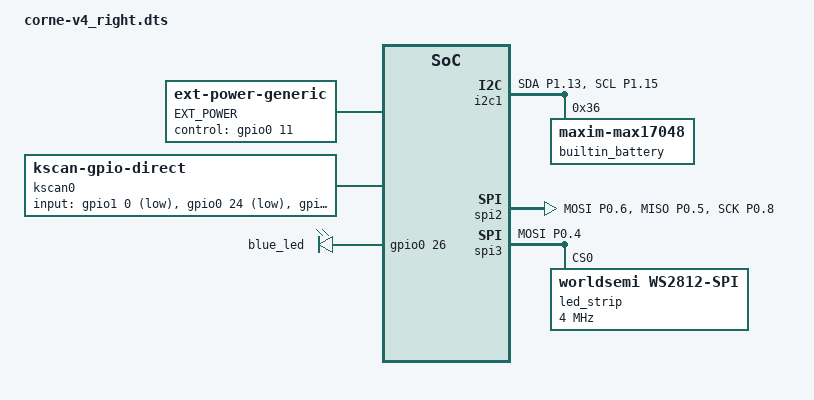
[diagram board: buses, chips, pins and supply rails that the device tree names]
#include "corne-v4.dtsi"
#include <dt-bindings/led/led.h>

/ {
	EXT_POWER {
		compatible = "zmk,ext-power-generic";
		control-gpios = <&gpio0 11 GPIO_ACTIVE_HIGH>;
		init-delay-ms = <50>;
	};
};

&pinctrl {
    i2c1_default: i2c1_default {
        group1 {
            psels = <NRF_PSEL(TWIM_SDA, 1, 13)>,
                <NRF_PSEL(TWIM_SCL, 1, 15)>;
						bias-pull-up;
        };
    };

    i2c1_sleep: i2c1_sleep {
        group1 {
            psels = <NRF_PSEL(TWIM_SDA, 1, 13)>,
                <NRF_PSEL(TWIM_SCL, 1, 15)>;
            low-power-enable;
						bias-pull-up;
        };
    };
		spi2_default: spi2_default {
				group1 {
						psels = <NRF_PSEL(SPIM_MOSI, 0, 6)>,
								<NRF_PSEL(SPIM_MISO, 0, 5)>,
								<NRF_PSEL(SPIM_SCK, 0, 8)>;
				};
		};

		spi2_sleep: spi2_sleep {
				group1 {
						psels = <NRF_PSEL(SPIM_MOSI, 0, 6)>,
								<NRF_PSEL(SPIM_MISO, 0, 5)>,
								<NRF_PSEL(SPIM_SCK, 0, 8)>;
						low-power-enable;
				};
		};

    spi3_default: spi3_default {
				group1 {
						psels = <NRF_PSEL(SPIM_MOSI, 0, 4)>;
				};
		};
	
    spi3_sleep: spi3_sleep {
				group1 {
						psels = <NRF_PSEL(SPIM_MOSI, 0, 4)>;
						low-power-enable;
				};
		};
};

// fuel gauge
&i2c1 {
	compatible = "nordic,nrf-twi";
	pinctrl-0 = <&i2c1_default>;
	pinctrl-1 = <&i2c1_sleep>;
	pinctrl-names = "default", "sleep"; 
	

	builtin_battery: max17048@36 {
		compatible = "zmk,maxim-max17048";
		status = "okay";
		reg = <0x36>;
	};

	status = "okay";
};

lpm_view_spi: &spi2 {
  compatible = "nordic,nrf-spim";
  status = "okay";

  pinctrl-0 = <&spi2_default>;
  pinctrl-1 = <&spi2_sleep>;
  pinctrl-names = "default", "sleep";

	cs-gpios = <&gpio1 9 (GPIO_ACTIVE_HIGH | GPIO_PULL_DOWN)>;
	status = "okay";
};

nice_view_spi: &spi2 {
  compatible = "nordic,nrf-spim";
  status = "okay";

  pinctrl-0 = <&spi2_default>;
  pinctrl-1 = <&spi2_sleep>;
  pinctrl-names = "default", "sleep";

	cs-gpios = <&gpio1 9 (GPIO_ACTIVE_HIGH | GPIO_PULL_DOWN)>;
	status = "okay";
};
// led
&spi3 {
	status = "okay";
	compatible = "nordic,nrf-spim";
	pinctrl-0 = <&spi3_default>;
	pinctrl-1 = <&spi3_sleep>;
	pinctrl-names = "default", "sleep";

	led_strip: ws2812@0 {
				compatible ="worldsemi,ws2812-spi";
        /* SPI */
        reg = <0>; /* ignored, but necessary for SPI bindings */
        spi-max-frequency = <4000000>;

        /* WS2812 */
        chain-length = <24>; /* arbitrary; change at will */
        spi-one-frame = <0x70>;
        spi-zero-frame = <0x40>;

        color-mapping = <LED_COLOR_ID_GREEN LED_COLOR_ID_RED LED_COLOR_ID_BLUE>;
		};
};

// &right_encoder {
//     status = "okay";
// };
&default_transform {
		col-offset=<24>;
};

/ {
	chosen {
		zmk,underglow = &led_strip;
		zmk,battery = &builtin_battery;
		zmk,kscan= &kscan0;
	};
	kscan0: kscan {
		
		compatible = "zmk,kscan-gpio-direct";
		wakeup-source;
    input-gpios 
    = <&gpio1 0 (GPIO_ACTIVE_LOW | GPIO_PULL_UP)>  //ex1
    , <&gpio0 24 (GPIO_ACTIVE_LOW | GPIO_PULL_UP)> //4
    , <&gpio0 22 (GPIO_ACTIVE_LOW | GPIO_PULL_UP)> //5
    , <&gpio0 14 (GPIO_ACTIVE_LOW | GPIO_PULL_UP)> //12
    , <&gpio0 16 (GPIO_ACTIVE_LOW | GPIO_PULL_UP)>  //13
    , <&gpio0 19 (GPIO_ACTIVE_LOW | GPIO_PULL_UP)> //18
    , <&gpio0 21 (GPIO_ACTIVE_LOW | GPIO_PULL_UP)> // 19
    , <&gpio0 20 (GPIO_ACTIVE_LOW | GPIO_PULL_UP)> //ex2
    , <&gpio0 17 (GPIO_ACTIVE_LOW | GPIO_PULL_UP)> //3
    , <&gpio0 15 (GPIO_ACTIVE_LOW | GPIO_PULL_UP)> //6
    , <&gpio0 23 (GPIO_ACTIVE_LOW | GPIO_PULL_UP)> //11
    , <&gpio0 25 (GPIO_ACTIVE_LOW | GPIO_PULL_UP)> //14
    , <&gpio1 1 (GPIO_ACTIVE_LOW | GPIO_PULL_UP)> //17
    , <&gpio0 10 (GPIO_ACTIVE_LOW | GPIO_PULL_UP)> //20
    , <&gpio0 31 (GPIO_ACTIVE_LOW | GPIO_PULL_UP)> //ex3
    , <&gpio0 12 (GPIO_ACTIVE_LOW | GPIO_PULL_UP)> //2
    , <&gpio0 13 (GPIO_ACTIVE_LOW | GPIO_PULL_UP)> //7
    , <&gpio1 2 (GPIO_ACTIVE_LOW | GPIO_PULL_UP)> //10
    , <&gpio0 9 (GPIO_ACTIVE_LOW | GPIO_PULL_UP)> //15
    , <&gpio1 6 (GPIO_ACTIVE_LOW | GPIO_PULL_UP)> //16
    , <&gpio1 4 (GPIO_ACTIVE_LOW | GPIO_PULL_UP)> //21
    , <&gpio0 29 (GPIO_ACTIVE_LOW | GPIO_PULL_UP)> //1
    , <&gpio0 2 (GPIO_ACTIVE_LOW | GPIO_PULL_UP)>  //8
    , <&gpio1 10 (GPIO_ACTIVE_LOW | GPIO_PULL_UP)> //9
    ;
	};
	leds {
		compatible = "gpio-leds";
		blue_led: led_0 {
			gpios = <&gpio0 26 GPIO_ACTIVE_HIGH>;
		};
	};
};
